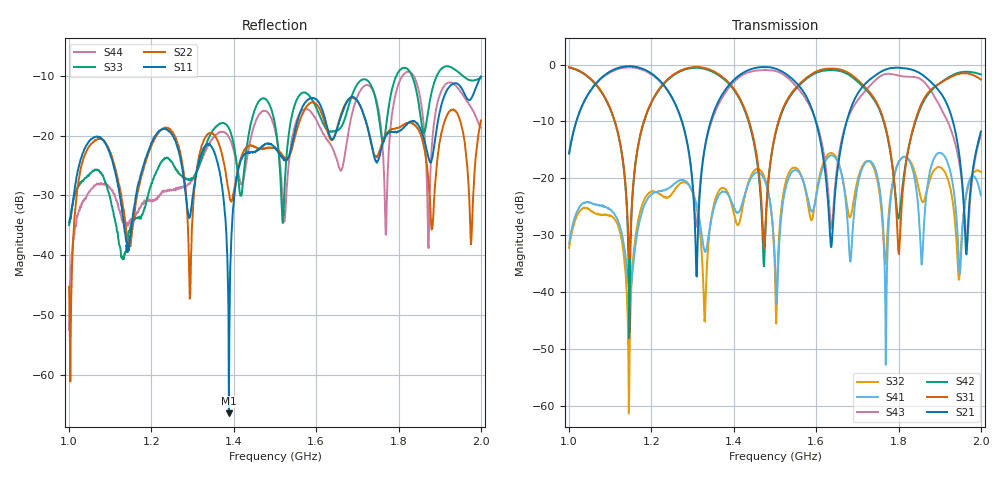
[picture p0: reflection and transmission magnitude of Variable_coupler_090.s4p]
#  HZ  S  DB  R  50.00
! Rohde & Schwarz Vector Network Analyzer
! Rohde-Schwarz,ZNB8-4Port,1311601044102961,2.82
! Created: UTC 1/17/2019, 3:15:54 PM
! freq[Hz]  db:S11  ang:S11  db:S12  ang:S12  db:S13  ang:S13  db:S14  ang:S14
!  db:S21  ang:S21  db:S22  ang:S22  db:S23  ang:S23  db:S24  ang:S24
!  db:S31  ang:S31  db:S32  ang:S32  db:S33  ang:S33  db:S34  ang:S34
!  db:S41  ang:S41  db:S42  ang:S42  db:S43  ang:S43  db:S44  ang:S44
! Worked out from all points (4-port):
!   1001 points, 1 GHz to 2 GHz, reference 50 ohm
!   strongest paths, dB at 1 GHz, 1.25 GHz, 1.5 GHz, 1.75 GHz, 2 GHz:
!     S21: -15.6, -5.8, -0.7, -1.6, -11.8
!     S31: -0.5, -1.9, -12.3, -7.1, -2.6
!     S42: -0.5, -2.0, -12.6, -7.3, -1.7
!     S43: -15.6, -5.9, -1.1, -2.4, -12.5
!     S41: -31.5, -21.3, -34.8, -20.1, -23.0
!     S32: -32.2, -22.7, -36.9, -20.9, -18.9
!   lowest |S11| = -66.4 dB at 1.388 GHz (marker M1), VSWR 1.00, Z = 50 + j0.0291 ohm
!   |S11| at or under -10 dB: start of sweep to end of sweep
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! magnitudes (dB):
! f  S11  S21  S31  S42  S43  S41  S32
! 1 GHz  -34.6  -15.6  -0.5  -0.5  -15.6  -31.5  -32.2
! 1.146 GHz  -38.5  -0.3  -34.1  -48.0  -0.5  -39.5  -57.1
! 1.309 GHz  -26.3  -37.1  -0.4  -0.6  -28.5  -24.5  -25.0
! 1.388 GHz  -66.4  -3.6  -3.2  -3.4  -4.1  -23.1  -23.0
! 1.473 GHz  -21.7  -0.4  -32.2  -35.4  -1.0  -20.0  -19.5
! 1.636 GHz  -20.5  -32.1  -0.7  -1.0  -28.6  -16.0  -15.5
! 2 GHz  -10.1  -11.8  -2.6  -1.7  -12.5  -23.0  -18.9
